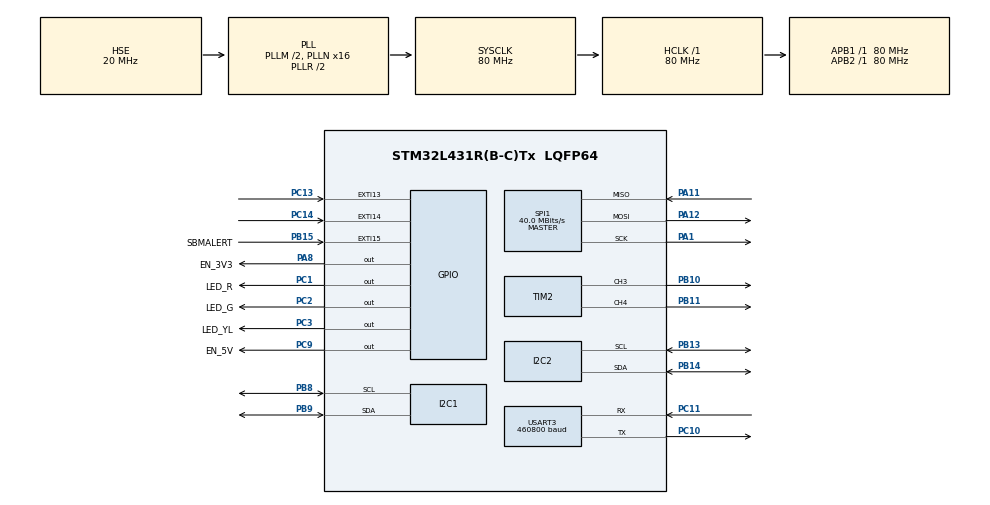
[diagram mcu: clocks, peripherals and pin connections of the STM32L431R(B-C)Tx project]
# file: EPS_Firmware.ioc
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CRC.DefaultInitValueUse=DEFAULT_INIT_VALUE_DISABLE
FREERTOS.Tasks01=MPPT_IC,8,512,prvMonitorMPPT,Default,NULL,Dynamic,NULL,NULL;ReportStatus,8,1024,prvSendTelemetry,Default,NULL,Dynamic,NULL,NULL;PowerRails,8,128,prvPowerManagement,Default,NULL,Dynamic,NULL,NULL
FREERTOS.configENABLE_FPU=1
FREERTOS.configTOTAL_HEAP_SIZE=8320
FREERTOS.configUSE_IDLE_HOOK=1
FREERTOS.configUSE_NEWLIB_REENTRANT=1
I2C1.Timing=0x10909CEC
I2C2.Timing=0x10909CEC
Mcu.Family=STM32L4
Mcu.Name=STM32L431R(B-C)Tx
Mcu.Package=LQFP64
NVIC.PriorityGroup=NVIC_PRIORITYGROUP_4
NVIC.TIM1_UP_TIM16_IRQn=true\:15\:0\:false\:false\:true\:false\:false\:true\:true
NVIC.TimeBase=TIM1_UP_TIM16_IRQn
NVIC.TimeBaseIP=TIM1
NVIC.USART3_IRQn=true\:5\:0\:false\:false\:true\:true\:true\:true\:true
PA1.Mode=Full_Duplex_Master
PA1.Signal=SPI1_SCK
PA11.Mode=Full_Duplex_Master
PA11.Signal=SPI1_MISO
PA12.Mode=Full_Duplex_Master
PA12.Signal=SPI1_MOSI
PA13\ (JTMS-SWDIO).Mode=JTAG_5_pins
PA13\ (JTMS-SWDIO).Signal=SYS_JTMS-SWDIO
PA14\ (JTCK-SWCLK).Mode=JTAG_5_pins
PA14\ (JTCK-SWCLK).Signal=SYS_JTCK-SWCLK
PA15\ (JTDI).Mode=JTAG_5_pins
PA15\ (JTDI).Signal=SYS_JTDI
PA8.GPIO_Label=EN_3V3
PA8.Signal=GPIO_Output
PB10.Signal=S_TIM2_CH3
PB11.Signal=S_TIM2_CH4
PB13.Mode=I2C
PB13.Signal=I2C2_SCL
PB14.Mode=I2C
PB14.Signal=I2C2_SDA
PB15.GPIO_Label=SBMALERT
PB15.Signal=GPXTI15
PB3\ (JTDO-TRACESWO).Mode=JTAG_5_pins
PB3\ (JTDO-TRACESWO).Signal=SYS_JTDO-SWO
PB4\ (NJTRST).Mode=JTAG_5_pins
PB4\ (NJTRST).Signal=SYS_JTRST
PB8.Mode=I2C
PB8.Signal=I2C1_SCL
PB9.Mode=I2C
PB9.Signal=I2C1_SDA
PC1.GPIO_Label=LED_R
PC1.PinState=GPIO_PIN_SET
PC1.Signal=GPIO_Output
PC10.Mode=Asynchronous
PC10.Signal=USART3_TX
PC11.Mode=Asynchronous
PC11.Signal=USART3_RX
PC13.Signal=GPXTI13
PC14-OSC32_IN\ (PC14).Signal=GPXTI14
PC2.GPIO_Label=LED_G
PC2.GPIO_PuPd=GPIO_NOPULL
PC2.PinState=GPIO_PIN_SET
PC2.Signal=GPIO_Output
PC3.GPIO_Label=LED_YL
PC3.PinState=GPIO_PIN_RESET
PC3.Signal=GPIO_Output
PC9.GPIO_Label=EN_5V
PC9.Signal=GPIO_Output
PH0-OSC_IN\ (PH0).Mode=HSE-External-Oscillator
PH0-OSC_IN\ (PH0).Signal=RCC_OSC_IN
PH1-OSC_OUT\ (PH1).Mode=HSE-External-Oscillator
PH1-OSC_OUT\ (PH1).Signal=RCC_OSC_OUT
ProjectManager.HeapSize=0x1000
ProjectManager.StackSize=0x400
ProjectManager.TargetToolchain=STM32CubeIDE
RCC.ADCFreq_Value=40000000
RCC.AHBFreq_Value=80000000
RCC.APB1Freq_Value=80000000
RCC.APB1TimFreq_Value=80000000
RCC.APB2Freq_Value=80000000
RCC.APB2TimFreq_Value=80000000
RCC.CortexFreq_Value=80000000
RCC.HCLKFreq_Value=80000000
RCC.HSE_VALUE=20000000
RCC.HSI48_VALUE=48000000
RCC.HSI_VALUE=16000000
RCC.LSE_VALUE=32768
RCC.MSI_VALUE=4000000
RCC.PLLM=2
RCC.PLLN=16
RCC.PLLSourceVirtual=RCC_PLLSOURCE_HSE
RCC.SYSCLKFreq_VALUE=80000000
RCC.SYSCLKSource=RCC_SYSCLKSOURCE_PLLCLK
RCC.VCOOutputFreq_Value=160000000
SH.S_TIM2_CH3.0=TIM2_CH3,PWM Generation3 CH3
SH.S_TIM2_CH4.0=TIM2_CH4,PWM Generation4 CH4
SPI1.BaudRatePrescaler=SPI_BAUDRATEPRESCALER_2
SPI1.CalculateBaudRate=40.0 MBits/s
SPI1.Direction=SPI_DIRECTION_2LINES
SPI1.Mode=SPI_MODE_MASTER
SPI1.VirtualType=VM_MASTER
TIM2.Channel-PWM\ Generation3\ CH3=TIM_CHANNEL_3
TIM2.Channel-PWM\ Generation4\ CH4=TIM_CHANNEL_4
USART3.BaudRate=460800
USART3.SwapParam=ADVFEATURE_SWAP_DISABLE
USART3.VirtualMode-Asynchronous=VM_ASYNC
VP_CRC_VS_CRC.Mode=CRC_Activate
VP_FREERTOS_VS_CMSIS_V2.Mode=CMSIS_V2
VP_SYS_VS_tim1.Mode=TIM1
board=custom

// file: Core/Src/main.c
/* USER CODE BEGIN Header */
/**
  ******************************************************************************
  * @file           : main.c
  * @brief          : Main program body
  ******************************************************************************
  * @attention
  *
  * Copyright (c) 2023 STMicroelectronics.
  * All rights reserved.
  *
  * This software is licensed under terms that can be found in the LICENSE file
  * in the root directory of this software component.
  * If no LICENSE file comes with this software, it is provided AS-IS.
  *
  ******************************************************************************
  */
/* USER CODE END Header */
#include "main.h"
#include "cmsis_os.h"

/* USER CODE BEGIN Includes */
#include "EPS_FYCUS.h"
#include "LTC4162.h"
#include "LTC4162-LAD_reg_defs.h"
#include"LTC4162-LAD_formats.h"
#include "bus_packet.h"
#include <stdbool.h>
#include <string.h>
#include <stdio.h>
#include <stdlib.h>

/* USER CODE END Includes */

CRC_HandleTypeDef hcrc;

I2C_HandleTypeDef hi2c1;
I2C_HandleTypeDef hi2c2;

SPI_HandleTypeDef hspi1;

TIM_HandleTypeDef htim2;

UART_HandleTypeDef huart3;

/* Definitions for MPPT_IC */
osThreadId_t MPPT_ICHandle;
const osThreadAttr_t MPPT_IC_attributes = {
  .name = "MPPT_IC",
  .stack_size = 512 * 4,
  .priority = (osPriority_t) osPriorityLow,
};
/* Definitions for ReportStatus */
osThreadId_t ReportStatusHandle;
const osThreadAttr_t ReportStatus_attributes = {
  .name = "ReportStatus",
  .stack_size = 1024 * 4,
  .priority = (osPriority_t) osPriorityLow,
};
/* Definitions for PowerRails */
osThreadId_t PowerRailsHandle;
const osThreadAttr_t PowerRails_attributes = {
  .name = "PowerRails",
  .stack_size = 128 * 4,
  .priority = (osPriority_t) osPriorityLow,
};
/* USER CODE BEGIN PV */
static EPS_Telemetry telemetry;
static uint8_t buf[4];
static uint8_t buf[BUS_PACKET_BUS_SIZE];

/* USER CODE END PV */

void SystemClock_Config(void);
static void MX_GPIO_Init(void);
static void MX_I2C1_Init(void);
static void MX_I2C2_Init(void);
static void MX_TIM2_Init(void);
static void MX_SPI1_Init(void);
static void MX_USART3_UART_Init(void);
static void MX_CRC_Init(void);
void prvMonitorMPPT(void *argument);
void prvSendTelemetry(void *argument);
void prvPowerManagement(void *argument);

int main(void)
{

  /* MCU Configuration--------------------------------------------------------*/

  /* Reset of all peripherals, Initializes the Flash interface and the Systick. */
  HAL_Init();

  /* Configure the system clock */
  SystemClock_Config();

  /* Initialize all configured peripherals */
  MX_GPIO_Init();
  MX_I2C1_Init();
  MX_I2C2_Init();
  MX_TIM2_Init();
  MX_SPI1_Init();
  MX_USART3_UART_Init();
  MX_CRC_Init();

  /* Init scheduler */
  osKernelInitialize();

  /* Create the thread(s) */
  /* creation of MPPT_IC */
  MPPT_ICHandle = osThreadNew(prvMonitorMPPT, NULL, &MPPT_IC_attributes);

  /* creation of ReportStatus */
  ReportStatusHandle = osThreadNew(prvSendTelemetry, NULL, &ReportStatus_attributes);

  /* creation of PowerRails */
  PowerRailsHandle = osThreadNew(prvPowerManagement, NULL, &PowerRails_attributes);

  /* Start scheduler */
  osKernelStart();

  /* We should never get here as control is now taken by the scheduler */
  /* Infinite loop */
  while (1)
  {

  }
}

void SystemClock_Config(void)
{
  RCC_OscInitTypeDef RCC_OscInitStruct = {0};
  RCC_ClkInitTypeDef RCC_ClkInitStruct = {0};

  /** Configure the main internal regulator output voltage
  */
  if (HAL_PWREx_ControlVoltageScaling(PWR_REGULATOR_VOLTAGE_SCALE1) != HAL_OK)
  {
    Error_Handler();
  }

  /** Initializes the RCC Oscillators according to the specified parameters
  * in the RCC_OscInitTypeDef structure.
  */
  RCC_OscInitStruct.OscillatorType = RCC_OSCILLATORTYPE_HSE;
  RCC_OscInitStruct.HSEState = RCC_HSE_ON;
  RCC_OscInitStruct.PLL.PLLState = RCC_PLL_ON;
  RCC_OscInitStruct.PLL.PLLSource = RCC_PLLSOURCE_HSE;
  RCC_OscInitStruct.PLL.PLLM = 2;
  RCC_OscInitStruct.PLL.PLLN = 16;
  RCC_OscInitStruct.PLL.PLLP = RCC_PLLP_DIV7;
  RCC_OscInitStruct.PLL.PLLQ = RCC_PLLQ_DIV2;
  RCC_OscInitStruct.PLL.PLLR = RCC_PLLR_DIV2;
  if (HAL_RCC_OscConfig(&RCC_OscInitStruct) != HAL_OK)
  {
    Error_Handler();
  }

  /** Initializes the CPU, AHB and APB buses clocks
  */
  RCC_ClkInitStruct.ClockType = RCC_CLOCKTYPE_HCLK|RCC_CLOCKTYPE_SYSCLK
                              |RCC_CLOCKTYPE_PCLK1|RCC_CLOCKTYPE_PCLK2;
  RCC_ClkInitStruct.SYSCLKSource = RCC_SYSCLKSOURCE_PLLCLK;
  RCC_ClkInitStruct.AHBCLKDivider = RCC_SYSCLK_DIV1;
  RCC_ClkInitStruct.APB1CLKDivider = RCC_HCLK_DIV1;
  RCC_ClkInitStruct.APB2CLKDivider = RCC_HCLK_DIV1;

  if (HAL_RCC_ClockConfig(&RCC_ClkInitStruct, FLASH_LATENCY_4) != HAL_OK)
  {
    Error_Handler();
  }
}

static void MX_CRC_Init(void)
{

  hcrc.Instance = CRC;
  hcrc.Init.DefaultPolynomialUse = DEFAULT_POLYNOMIAL_ENABLE;
  hcrc.Init.DefaultInitValueUse = DEFAULT_INIT_VALUE_DISABLE;
  hcrc.Init.InitValue = 0;
  hcrc.Init.InputDataInversionMode = CRC_INPUTDATA_INVERSION_NONE;
  hcrc.Init.OutputDataInversionMode = CRC_OUTPUTDATA_INVERSION_DISABLE;
  hcrc.InputDataFormat = CRC_INPUTDATA_FORMAT_BYTES;
  if (HAL_CRC_Init(&hcrc) != HAL_OK)
  {
    Error_Handler();
  }
  /* USER CODE BEGIN CRC_Init 2 */
  HAL_CRCEx_Polynomial_Set(&hcrc, 0x1021, CRC_POLYLENGTH_16B);

  /* USER CODE END CRC_Init 2 */

}

static void MX_I2C1_Init(void)
{

  hi2c1.Instance = I2C1;
  hi2c1.Init.Timing = 0x10909CEC;
  hi2c1.Init.OwnAddress1 = 0;
  hi2c1.Init.AddressingMode = I2C_ADDRESSINGMODE_7BIT;
  hi2c1.Init.DualAddressMode = I2C_DUALADDRESS_DISABLE;
  hi2c1.Init.OwnAddress2 = 0;
  hi2c1.Init.OwnAddress2Masks = I2C_OA2_NOMASK;
  hi2c1.Init.GeneralCallMode = I2C_GENERALCALL_DISABLE;
  hi2c1.Init.NoStretchMode = I2C_NOSTRETCH_DISABLE;
  if (HAL_I2C_Init(&hi2c1) != HAL_OK)
  {
    Error_Handler();
  }

  /** Configure Analogue filter
  */
  if (HAL_I2CEx_ConfigAnalogFilter(&hi2c1, I2C_ANALOGFILTER_ENABLE) != HAL_OK)
  {
    Error_Handler();
  }

  /** Configure Digital filter
  */
  if (HAL_I2CEx_ConfigDigitalFilter(&hi2c1, 0) != HAL_OK)
  {
    Error_Handler();
  }

}

static void MX_I2C2_Init(void)
{

  hi2c2.Instance = I2C2;
  hi2c2.Init.Timing = 0x10909CEC;
  hi2c2.Init.OwnAddress1 = 0;
  hi2c2.Init.AddressingMode = I2C_ADDRESSINGMODE_7BIT;
  hi2c2.Init.DualAddressMode = I2C_DUALADDRESS_DISABLE;
  hi2c2.Init.OwnAddress2 = 0;
  hi2c2.Init.OwnAddress2Masks = I2C_OA2_NOMASK;
  hi2c2.Init.GeneralCallMode = I2C_GENERALCALL_DISABLE;
  hi2c2.Init.NoStretchMode = I2C_NOSTRETCH_DISABLE;
  if (HAL_I2C_Init(&hi2c2) != HAL_OK)
  {
    Error_Handler();
  }

  /** Configure Analogue filter
  */
  if (HAL_I2CEx_ConfigAnalogFilter(&hi2c2, I2C_ANALOGFILTER_ENABLE) != HAL_OK)
  {
    Error_Handler();
  }

  /** Configure Digital filter
  */
  if (HAL_I2CEx_ConfigDigitalFilter(&hi2c2, 0) != HAL_OK)
  {
    Error_Handler();
  }

}

static void MX_SPI1_Init(void)
{

  /* SPI1 parameter configuration*/
  hspi1.Instance = SPI1;
  hspi1.Init.Mode = SPI_MODE_MASTER;
  hspi1.Init.Direction = SPI_DIRECTION_2LINES;
  hspi1.Init.DataSize = SPI_DATASIZE_4BIT;
  hspi1.Init.CLKPolarity = SPI_POLARITY_LOW;
  hspi1.Init.CLKPhase = SPI_PHASE_1EDGE;
  hspi1.Init.NSS = SPI_NSS_SOFT;
  hspi1.Init.BaudRatePrescaler = SPI_BAUDRATEPRESCALER_2;
  hspi1.Init.FirstBit = SPI_FIRSTBIT_MSB;
  hspi1.Init.TIMode = SPI_TIMODE_DISABLE;
  hspi1.Init.CRCCalculation = SPI_CRCCALCULATION_DISABLE;
  hspi1.Init.CRCPolynomial = 7;
  hspi1.Init.CRCLength = SPI_CRC_LENGTH_DATASIZE;
  hspi1.Init.NSSPMode = SPI_NSS_PULSE_ENABLE;
  if (HAL_SPI_Init(&hspi1) != HAL_OK)
  {
    Error_Handler();
  }

}

static void MX_TIM2_Init(void)
{

  TIM_MasterConfigTypeDef sMasterConfig = {0};
  TIM_OC_InitTypeDef sConfigOC = {0};

  htim2.Instance = TIM2;
  htim2.Init.Prescaler = 0;
  htim2.Init.CounterMode = TIM_COUNTERMODE_UP;
  htim2.Init.Period = 4294967295;
  htim2.Init.ClockDivision = TIM_CLOCKDIVISION_DIV1;
  htim2.Init.AutoReloadPreload = TIM_AUTORELOAD_PRELOAD_DISABLE;
  if (HAL_TIM_PWM_Init(&htim2) != HAL_OK)
  {
    Error_Handler();
  }
  sMasterConfig.MasterOutputTrigger = TIM_TRGO_RESET;
  sMasterConfig.MasterSlaveMode = TIM_MASTERSLAVEMODE_DISABLE;
  if (HAL_TIMEx_MasterConfigSynchronization(&htim2, &sMasterConfig) != HAL_OK)
  {
    Error_Handler();
  }
  sConfigOC.OCMode = TIM_OCMODE_PWM1;
  sConfigOC.Pulse = 0;
  sConfigOC.OCPolarity = TIM_OCPOLARITY_HIGH;
  sConfigOC.OCFastMode = TIM_OCFAST_DISABLE;
  if (HAL_TIM_PWM_ConfigChannel(&htim2, &sConfigOC, TIM_CHANNEL_3) != HAL_OK)
  {
    Error_Handler();
  }
  if (HAL_TIM_PWM_ConfigChannel(&htim2, &sConfigOC, TIM_CHANNEL_4) != HAL_OK)
  {
    Error_Handler();
  }
  HAL_TIM_MspPostInit(&htim2);

}

static void MX_USART3_UART_Init(void)
{

  huart3.Instance = USART3;
  huart3.Init.BaudRate = 460800;
  huart3.Init.WordLength = UART_WORDLENGTH_8B;
  huart3.Init.StopBits = UART_STOPBITS_1;
  huart3.Init.Parity = UART_PARITY_NONE;
  huart3.Init.Mode = UART_MODE_TX_RX;
  huart3.Init.HwFlowCtl = UART_HWCONTROL_NONE;
  huart3.Init.OverSampling = UART_OVERSAMPLING_16;
  huart3.Init.OneBitSampling = UART_ONE_BIT_SAMPLE_DISABLE;
  huart3.AdvancedInit.AdvFeatureInit = UART_ADVFEATURE_NO_INIT;
  if (HAL_UART_Init(&huart3) != HAL_OK)
  {
    Error_Handler();
  }

}

static void MX_GPIO_Init(void)
{
  GPIO_InitTypeDef GPIO_InitStruct = {0};

  /* GPIO Ports Clock Enable */
  __HAL_RCC_GPIOC_CLK_ENABLE();
  __HAL_RCC_GPIOH_CLK_ENABLE();
  __HAL_RCC_GPIOA_CLK_ENABLE();
  __HAL_RCC_GPIOB_CLK_ENABLE();

  /*Configure GPIO pin Output Level */
  HAL_GPIO_WritePin(GPIOC, LED_R_Pin|LED_G_Pin, GPIO_PIN_SET);

  /*Configure GPIO pin Output Level */
  HAL_GPIO_WritePin(GPIOC, LED_YL_Pin|EN_5V_Pin, GPIO_PIN_RESET);

  /*Configure GPIO pin Output Level */
  HAL_GPIO_WritePin(EN_3V3_GPIO_Port, EN_3V3_Pin, GPIO_PIN_RESET);

  /*Configure GPIO pins : PC13 PC14 */
  GPIO_InitStruct.Pin = GPIO_PIN_13|GPIO_PIN_14;
  GPIO_InitStruct.Mode = GPIO_MODE_IT_RISING;
  GPIO_InitStruct.Pull = GPIO_NOPULL;
  HAL_GPIO_Init(GPIOC, &GPIO_InitStruct);

  /*Configure GPIO pins : LED_R_Pin LED_G_Pin LED_YL_Pin EN_5V_Pin */
  GPIO_InitStruct.Pin = LED_R_Pin|LED_G_Pin|LED_YL_Pin|EN_5V_Pin;
  GPIO_InitStruct.Mode = GPIO_MODE_OUTPUT_PP;
  GPIO_InitStruct.Pull = GPIO_NOPULL;
  GPIO_InitStruct.Speed = GPIO_SPEED_FREQ_LOW;
  HAL_GPIO_Init(GPIOC, &GPIO_InitStruct);

  /*Configure GPIO pin : SBMALERT_Pin */
  GPIO_InitStruct.Pin = SBMALERT_Pin;
  GPIO_InitStruct.Mode = GPIO_MODE_IT_RISING;
  GPIO_InitStruct.Pull = GPIO_NOPULL;
  HAL_GPIO_Init(SBMALERT_GPIO_Port, &GPIO_InitStruct);

  /*Configure GPIO pin : EN_3V3_Pin */
  GPIO_InitStruct.Pin = EN_3V3_Pin;
  GPIO_InitStruct.Mode = GPIO_MODE_OUTPUT_PP;
  GPIO_InitStruct.Pull = GPIO_NOPULL;
  GPIO_InitStruct.Speed = GPIO_SPEED_FREQ_LOW;
  HAL_GPIO_Init(EN_3V3_GPIO_Port, &GPIO_InitStruct);

}

/* USER CODE BEGIN 4 */

void HAL_UARTEx_RxEventCallback(UART_HandleTypeDef *huart, uint16_t Size)
{
//	osThreadFlagsSet(ReportStatusHandle, 0x1U);
	HAL_UARTEx_ReceiveToIdle_IT(&huart3, (uint8_t *)buf, 4);
}

void HAL_UART_TxCpltCallback(UART_HandleTypeDef *huart)
{
	osThreadFlagsSet(ReportStatusHandle, 0x2U);
}

/* USER CODE END 4 */

/* USER CODE BEGIN Header_prvMonitorMPPT */
/**
  * @brief  Function implementing the MPPT_IC thread. In charge of configuring, and monitoring
  * the MPPT IC - LTC4162
  * @param  argument: Not used
  * @retval None
  */
/* USER CODE END Header_prvMonitorMPPT */
void prvMonitorMPPT(void *argument)
{
  /* USER CODE BEGIN 5 */

	LTC4162_Init(&hi2c2);

	/* Infinite loop */
	for(;;)
	{
		HAL_GPIO_TogglePin(LED_G_GPIO_Port, LED_G_Pin);

		LTC4162_GetReg(LTC4162_VIN, &telemetry.v_in);

		LTC4162_GetReg(LTC4162_VOUT, &telemetry.v_out);

		LTC4162_GetReg(LTC4162_VBAT, &telemetry.v_bat);

		LTC4162_GetReg(LTC4162_IBAT, &telemetry.i_bat);

		LTC4162_GetReg(LTC4162_IIN, &telemetry.i_in);

		LTC4162_GetReg(LTC4162_DIE_TEMP, &telemetry.die_temp);

		LTC4162_GetReg(LTC4162_THERMISTOR_VOLTAGE, &telemetry.thermistor_voltage);

		LTC4162_GetReg(LTC4162_BSR, &telemetry.bsr);

		LTC4162_GetReg(LTC4162_CHARGER_STATE, &telemetry.charger_state);

		osDelay(100);
	}
  /* USER CODE END 5 */
}

void prvSendTelemetry(void *argument)
{
  /* USER CODE BEGIN prvSendTelemetry */

	memcpy(buf, BUS_PACKET_FRAME_SYNC, 4);

	/* Infinite loop */
	for(;;)
	{
		HAL_GPIO_TogglePin(LED_G_GPIO_Port, LED_G_Pin);

//		do {
//			osThreadFlagsWait(0x1U, osFlagsWaitAll, osWaitForever);
//		} while (buf != 0xDEAD);
		bus_packet_EncodePacketize(BUS_PACKET_TYPE_TM, 0x40, BUS_PACKET_ECF_EXIST, (uint8_t *)&telemetry, sizeof(telemetry), buf + 4);

		HAL_UART_Transmit(&huart3, buf, bus_packet_GetLength(buf + 4) + 4,1000);
//		osThreadFlagsWait(0x2U, osFlagsWaitAny, osWaitForever);

		osDelay(5000);
	}
  /* USER CODE END prvSendTelemetry */
}

void prvPowerManagement(void *argument)
{
  /* USER CODE BEGIN prvPowerManagement */
	/* Infinite loop */
	for(;;)
	{
		HAL_GPIO_TogglePin(LED_G_GPIO_Port, LED_G_Pin);

		HAL_GPIO_WritePin(EN_3V3_GPIO_Port, EN_3V3_Pin, GPIO_PIN_SET);

		osThreadSuspend(PowerRailsHandle);

	}
  /* USER CODE END prvPowerManagement */
}

void HAL_TIM_PeriodElapsedCallback(TIM_HandleTypeDef *htim)
{
  if (htim->Instance == TIM1) {
    HAL_IncTick();
  }
}

void Error_Handler(void)
{
  /* USER CODE BEGIN Error_Handler_Debug */
  /* User can add his own implementation to report the HAL error return state */
  __disable_irq();
  while (1)
  {
	  HAL_GPIO_TogglePin(LED_R_GPIO_Port, LED_R_Pin);
	  HAL_Delay(250);
  }
  /* USER CODE END Error_Handler_Debug */
}

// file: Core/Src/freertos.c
/* USER CODE BEGIN Header */
/**
  ******************************************************************************
  * File Name          : freertos.c
  * Description        : Code for freertos applications
  ******************************************************************************
  * @attention
  *
  * Copyright (c) 2023 STMicroelectronics.
  * All rights reserved.
  *
  * This software is licensed under terms that can be found in the LICENSE file
  * in the root directory of this software component.
  * If no LICENSE file comes with this software, it is provided AS-IS.
  *
  ******************************************************************************
  */
/* USER CODE END Header */

#include "FreeRTOS.h"
#include "task.h"
#include "main.h"

/* Hook prototypes */
void vApplicationIdleHook(void);

/* USER CODE BEGIN 2 */
void vApplicationIdleHook( void )
{
   /* vApplicationIdleHook() will only be called if configUSE_IDLE_HOOK is set
   to 1 in FreeRTOSConfig.h. It will be called on each iteration of the idle
   task. It is essential that code added to this hook function never attempts
   to block in any way (for example, call xQueueReceive() with a block time
   specified, or call vTaskDelay()). If the application makes use of the
   vTaskDelete() API function (as this demo application does) then it is also
   important that vApplicationIdleHook() is permitted to return to its calling
   function, because it is the responsibility of the idle task to clean up
   memory allocated by the kernel to any task that has since been deleted. */

	__WFI();
}
/* USER CODE END 2 */
